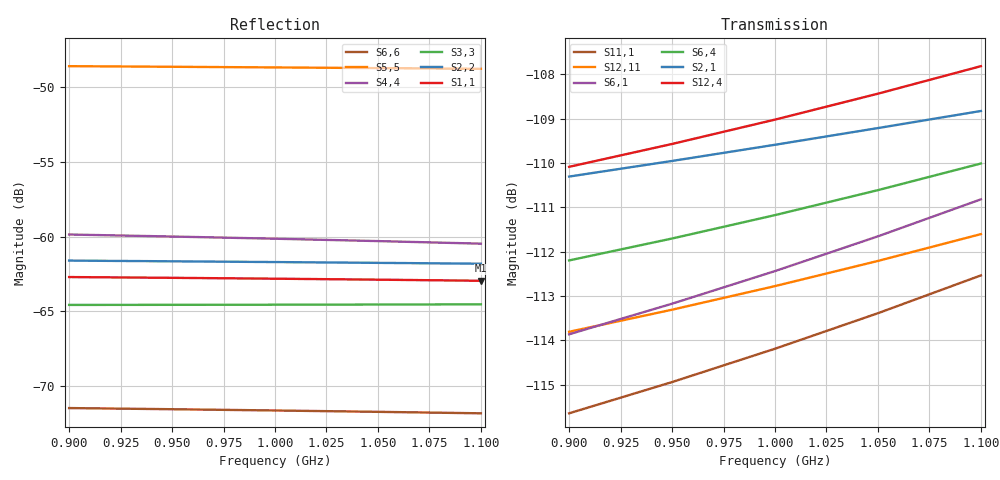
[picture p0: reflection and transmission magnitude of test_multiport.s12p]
! Touchstone file from project test_multiport
! Exported from HFSS 2019.2.0
!Data is not renormalized
# GHZ S MA
! Modal data exported
! Port[1] = 1:1
! Port[2] = 2:1
! Port[3] = 3:1
! Port[4] = 4:1
! Port[5] = 5:1
! Port[6] = 6:1
! Port[7] = 7:1
! Port[8] = 8:1
! Port[9] = 9:1
! Port[10] = 10:1
! Port[11] = 11:1
! Port[12] = 12:1
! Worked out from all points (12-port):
!   5 points, 900 MHz to 1.1 GHz, reference per port
!   strongest paths, dB at 900 MHz, 950 MHz, 1 GHz, 1.05 GHz, 1.1 GHz:
!     S12,4: -110.1, -109.6, -109.0, -108.4, -107.8
!     S2,1: -110.3, -110.0, -109.6, -109.2, -108.8
!     S6,4: -112.2, -111.7, -111.2, -110.6, -110.0
!     S6,1: -113.9, -113.2, -112.4, -111.7, -110.8
!     S12,11: -113.8, -113.3, -112.8, -112.2, -111.6
!     S11,1: -115.6, -114.9, -114.2, -113.4, -112.5
!   lowest |S11| = -63.0 dB at 1.1 GHz (marker M1), VSWR 1.00
!   |S11| at or under -10 dB: start of sweep to end of sweep
